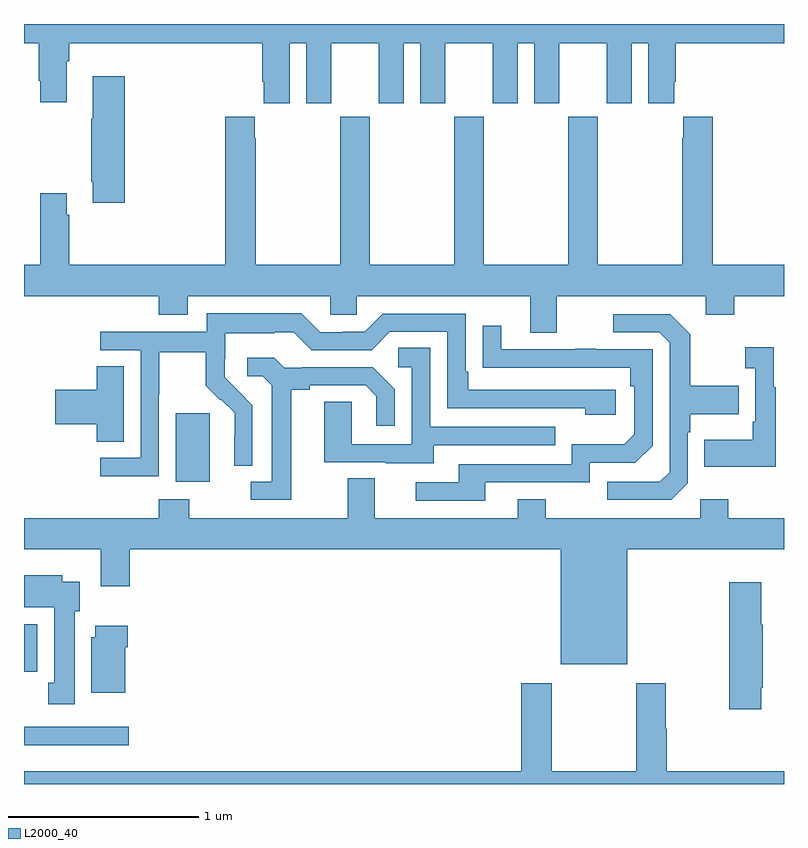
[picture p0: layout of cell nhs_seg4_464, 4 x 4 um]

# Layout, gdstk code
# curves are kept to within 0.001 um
import gdstk
lib = gdstk.Library(unit=1e-6, precision=1e-09)
def R(c, l, rs):  # rectangles x0, y0, x1, y1
    for r in rs: c.add(gdstk.rectangle(r[:2], r[2:], *l))
def P(c, l, *ps):  # polygons
    for p in ps: c.add(gdstk.Polygon(p, *l))
L2000_40 = (2000, 40)

nhs_seg4_464 = lib.new_cell('nhs_seg4_464')
R(nhs_seg4_464, L2000_40, [(133,813.104,133.552,813.201), (133,813.492,133.071,813.742), (133.799,814.49,133.978,814.851)])
P(nhs_seg4_464, L2000_40, [(134.398,816.8),(134.486,816.8),(134.486,816.483),(134.617,816.483),(134.617,816.8),(134.867,816.8),(134.867,816.483),(134.998,816.483),(134.998,816.8),(135.086,816.8),(135.086,816.483),(135.217,816.483),(135.217,816.8),(135.467,816.8),(135.467,816.483),(135.598,816.483),(135.598,816.8),(135.686,816.8),(135.686,816.483),(135.817,816.483),(135.817,816.8),(136.067,816.8),(136.067,816.483),(136.198,816.483),(136.198,816.8),(136.286,816.8),(136.286,816.483),(136.423,816.483),(136.423,816.595),(136.43,816.595),(136.43,816.8),(137,816.8),(137,816.9),(133,816.9),(133,816.8),(133.078,816.8),(133.078,816.601),(133.085,816.601),(133.085,816.489),(133.225,816.489),(133.225,816.704),(133.238,816.704),(133.238,816.8),(134.255,816.8),(134.255,816.595),(134.261,816.595),(134.261,816.483),(134.398,816.483)],
  [(133.529,816.625),(133.361,816.625),(133.361,816.401),(133.354,816.401),(133.354,816.07),(133.361,816.07),(133.361,815.958),(133.529,815.958)],
  [(135.805,815.468),(136.589,815.468),(136.589,815.369),(136.737,815.369),(136.737,815.468),(137,815.468),(137,815.632),(136.625,815.632),(136.625,816.412),(136.469,816.412),(136.469,816.299),(136.465,816.299),(136.465,815.632),(136.02,815.632),(136.02,816.412),(135.865,816.412),(135.865,815.632),(135.42,815.632),(135.42,816.412),(135.265,816.412),(135.265,815.632),(134.82,815.632),(134.82,816.412),(134.665,816.412),(134.665,815.632),(134.22,815.632),(134.22,816.299),(134.215,816.299),(134.215,816.412),(134.06,816.412),(134.06,815.632),(133.238,815.632),(133.238,815.897),(133.225,815.897),(133.225,816.01),(133.085,816.01),(133.085,815.632),(133,815.632),(133,815.468),(133.709,815.468),(133.709,815.369),(133.861,815.369),(133.861,815.468),(134.613,815.468),(134.613,815.37),(134.751,815.37),(134.751,815.468),(135.665,815.468),(135.665,815.274),(135.805,815.274)],
  [(133.71,814.948),(133.713,814.948),(133.713,815.172),(133.957,815.172),(133.957,814.997),(134.034,814.92),(134.037,814.923),(134.108,814.853),(134.108,814.73),(134.106,814.73),(134.106,814.576),(134.202,814.576),(134.202,814.894),(134.056,815.042),(134.056,815.139),(134.058,815.139),(134.058,815.273),(134.321,815.273),(134.321,815.277),(134.421,815.277),(134.514,815.184),(134.829,815.184),(134.925,815.28),(135.228,815.28),(135.228,814.878),(135.953,814.878),(135.953,814.844),(136.114,814.844),(136.114,814.974),(135.337,814.974),(135.337,815.071),(135.324,815.071),(135.324,815.376),(134.889,815.376),(134.793,815.28),(134.675,815.28),(134.675,815.277),(134.559,815.277),(134.459,815.377),(133.962,815.377),(133.962,815.28),(133.401,815.28),(133.401,815.184),(133.614,815.184),(133.614,814.617),(133.401,814.617),(133.401,814.519),(133.71,814.519)],
  [(136.494,814.482),(136.494,814.751),(136.507,814.751),(136.507,814.847),(136.763,814.847),(136.763,814.995),(136.507,814.995),(136.507,815.267),(136.401,815.373),(136.101,815.373),(136.101,815.277),(136.344,815.277),(136.398,815.223),(136.398,814.542),(136.347,814.491),(136.071,814.491),(136.071,814.395),(136.407,814.395)],
  [(135.427,814.488),(135.978,814.488),(135.978,814.59),(136.218,814.59),(136.308,814.68),(136.308,815.187),(136.013,815.187),(136.013,815.192),(135.901,815.192),(135.901,815.187),(135.511,815.187),(135.511,815.311),(135.415,815.311),(135.415,815.092),(136.192,815.091),(136.192,814.994),(136.212,814.994),(136.212,814.74),(136.159,814.687),(135.882,814.687),(135.882,814.584),(135.287,814.584),(135.287,814.488),(135.063,814.488),(135.063,814.392),(135.427,814.392)],
  [(136.957,814.987),(136.945,814.987),(136.945,815.2),(136.797,815.2),(136.797,815.087),(136.848,815.087),(136.848,814.807),(136.836,814.807),(136.836,814.711),(136.579,814.711),(136.579,814.571),(136.957,814.571)],
  [(135.157,814.683),(135.797,814.683),(135.797,814.779),(135.138,814.779),(135.138,815.195),(134.97,815.195),(134.97,815.094),(135.042,815.094),(135.042,814.689),(134.724,814.689),(134.724,814.913),(134.579,814.913),(134.579,814.593),(134.903,814.593),(134.903,814.589),(135.157,814.589)],
  [(134.407,814.976),(134.503,814.976),(134.503,814.998),(134.798,814.998),(134.855,814.941),(134.855,814.785),(134.952,814.785),(134.952,814.978),(134.836,815.094),(134.464,815.094),(134.464,815.091),(134.37,815.091),(134.318,815.143),(134.175,815.143),(134.175,815.046),(134.256,815.046),(134.303,814.999),(134.303,814.491),(134.193,814.491),(134.193,814.395),(134.407,814.395)],
  [(133.525,815.099),(133.382,815.099),(133.382,814.976),(133.164,814.976),(133.164,814.793),(133.382,814.793),(133.382,814.702),(133.525,814.702)],
  [(136.174,814.136),(137,814.136),(137,814.3),(136.707,814.3),(136.707,814.399),(136.56,814.399),(136.56,814.3),(135.747,814.3),(135.747,814.399),(135.599,814.399),(135.599,814.3),(134.845,814.3),(134.845,814.508),(134.705,814.508),(134.705,814.3),(133.869,814.3),(133.869,814.399),(133.709,814.399),(133.709,814.3),(133,814.3),(133,814.136),(133.403,814.136),(133.403,813.942),(133.556,813.942),(133.556,814.136),(135.824,814.136),(135.824,813.53),(136.174,813.53)],
  [(133.267,813.81),(133.294,813.81),(133.294,813.964),(133.201,813.964),(133.201,814),(133,814),(133,813.83),(133.16,813.83),(133.16,813.433),(133.127,813.433),(133.127,813.321),(133.267,813.321)],
  [(136.879,813.406),(136.887,813.406),(136.887,813.737),(136.879,813.737),(136.879,813.961),(136.712,813.961),(136.712,813.294),(136.879,813.294)],
  [(133.534,813.62),(133.547,813.62),(133.547,813.733),(133.376,813.733),(133.376,813.672),(133.355,813.672),(133.355,813.38),(133.534,813.38)],
  [(137,812.968),(136.382,812.968),(136.382,813.191),(136.377,813.191),(136.377,813.43),(136.222,813.43),(136.222,812.968),(135.777,812.968),(135.777,813.43),(135.617,813.43),(135.617,812.968),(133,812.968),(133,812.9),(137,812.9)])

lib.write_gds('nhs_seg4_464.gds')
